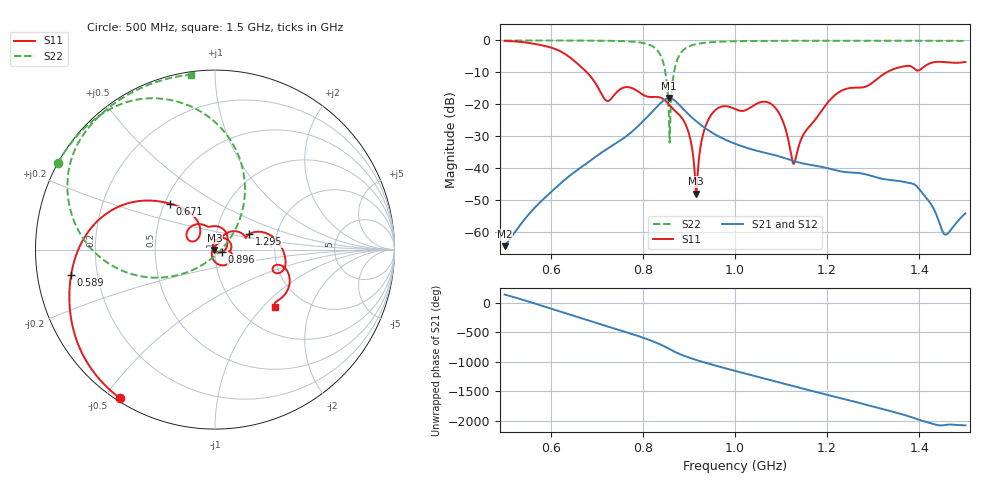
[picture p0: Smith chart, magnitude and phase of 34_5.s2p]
! TOUCHSTONE file generated by CST MICROWAVE STUDIO
! Date and time: Fri Oct  2 19:16:04 2020
! Project name: Scenario_1_Free_Space_out_of_line.cst
! Parameters = {Lambda=346.42; Step_1=17.321; dy1=-224.613; dx1=866; L_HA=400; MT=2.54; Rad_Dielectric=30; Rad_Lower=7.3; Rad_Upper=30; a_HA=580; a_WG=246; b_HA=500; b_WG=121; c_HA=0; c_WG=187; d_feed=85; h_feed=15; h_lower=18; h_upper=40}
! Header version: 2018
! Port assignment regex: !\s*Touchstone port\s*([0-9]+)\s*=\s*(CST MWS port|CST DS port)\s*([0-9]+|Zmin|Zmax)\s*\(\"(.*)\"\)(\s*mode\s*([0-9]+))?.*
! Touchstone port assignment:
! Touchstone port 1 = CST MWS port 1 ("")
! Touchstone port 2 = CST MWS port 2 ("")
# GHz S DB R 50
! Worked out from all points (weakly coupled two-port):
!   1003 points, 500 MHz to 1.5 GHz, reference 50 ohm
!   highest |S21| = -18.02 dB at 857 MHz (marker M1); lowest = -64.3 dB at 500 MHz (marker M2)
!   lowest |S11| = -47.9 dB at 916 MHz (marker M3), VSWR 1.01, Z = 49.7 - j0.222 ohm
!   |S11| at or under -10 dB: 678.7 MHz to 1.329 GHz (650 MHz wide, 64.8 % of centre)
!   |S22| runs from -31.9 to 0.0 dB; largest |S21 - S12| = 2.1e-07
!   S11 on the Smith chart (normalised r, x): 500 MHz: 0.01, -0.55; 589 MHz: 0.10, -0.09; 671 MHz: 0.54, +0.31; 896 MHz: 1.08, -0.03; 1.295 GHz: 1.45, +0.26; 1.5 GHz: 1.43, -1.17
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0.5  -0.15 -122.6  -64.31 138.8  -64.31 138.8  -0.01 151.1
0.589  -1.79 -170.1  -48.95 -70.8  -48.95 -70.8  -0.02 144.9
0.667  -8.40 136.4  -39.56 97.3  -39.56 97.3  -0.04 138.3
0.671  -8.92 134.3  -39.15 87.5  -39.15 87.5  -0.05 137.9
0.722  -18.91 142.6  -33.95 -37.9  -33.95 -37.9  -0.11 131.9
0.834  -17.72 83.0  -20.24 28.0  -20.24 28.0  -3.58 85.8
0.847  -18.61 61.4  -18.55 -19.9  -18.55 -19.9  -8.49 63.6
0.857  -20.09 45.6  -18.02 -60.9  -18.02 -60.9  -26.23 16.3
0.873  -22.42 24.8  -19.26 -124.6  -19.26 -124.6  -6.73 -161.8
0.896  -27.38 -18.1  -22.66 163.0  -22.66 163.0  -2.16 170.9
0.916  -47.87 -146.5  -25.28 110.9  -25.28 110.9  -1.15 159.5
0.945  -24.01 73.8  -28.36 43.5  -28.36 43.5  -0.59 150.1
1  -21.45 -3.6  -32.28 -73.2  -32.28 -73.2  -0.26 140.1
1.082  -20.25 -64.6  -35.69 118.0  -35.69 118.0  -0.13 131.2
1.127  -38.56 155.5  -37.67 25.6  -37.67 25.6  -0.11 127.4
1.167  -26.01 58.7  -38.98 -52.4  -38.98 -52.4  -0.09 124.1
1.224  -16.32 42.1  -40.77 -166.0  -40.77 -166.0  -0.09 119.7
1.295  -13.54 24.3  -42.30 50.0  -42.30 50.0  -0.09 114.4
1.334  -9.59 12.1  -43.57 -27.5  -43.57 -27.5  -0.09 111.4
1.394  -9.35 -19.5  -45.55 -168.3  -45.55 -168.3  -0.10 106.7
1.456  -6.80 -36.2  -60.69 91.0  -60.69 91.0  -0.12 101.7
1.5  -6.71 -44.0  -54.07 84.9  -54.07 84.9  -0.14 97.8
